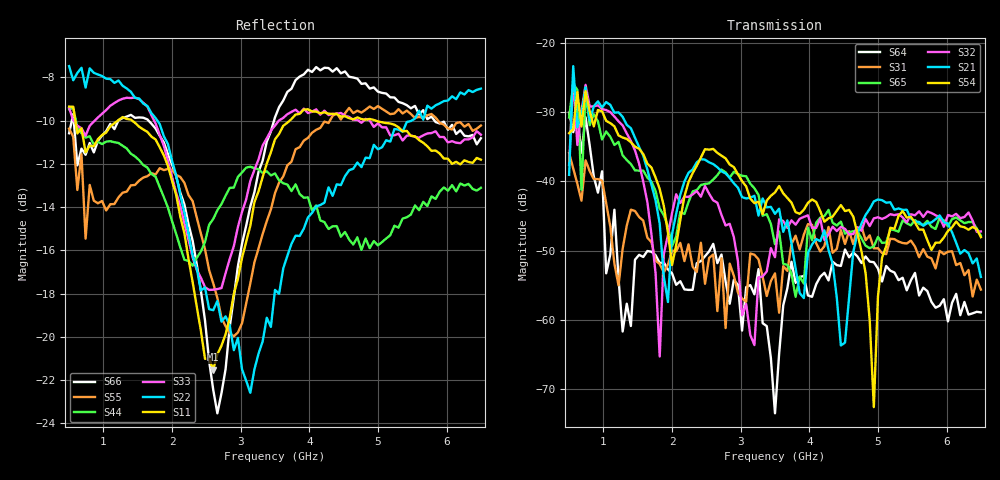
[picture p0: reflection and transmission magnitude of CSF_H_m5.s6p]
!Keysight Technologies,M9804A,MY58100912,A.14.10.03
!Date: Thursday, April 27, 2023 10:28:33
!Correction: S11(C  6-Port  )
!S12(C  6-Port  )
!S13(C  6-Port  )
!S14(C  6-Port  )
!S15(C  6-Port  )
!S16(C  6-Port  )
!S21(C  6-Port  )
!S22(C  6-Port  )
!S23(C  6-Port  )
!S24(C  6-Port  )
!S25(C  6-Port  )
!S26(C  6-Port  )
!S31(C  6-Port  )
!S32(C  6-Port  )
!S33(C  6-Port  )
!S34(C  6-Port  )
!S35(C  6-Port  )
!S36(C  6-Port  )
!S41(C  6-Port  )
!S42(C  6-Port  )
!S43(C  6-Port  )
!S44(C  6-Port  )
!S45(C  6-Port  )
!S46(C  6-Port  )
!S51(C  6-Port  )
!S52(C  6-Port  )
!S53(C  6-Port  )
!S54(C  6-Port  )
!S55(C  6-Port  )
!S56(C  6-Port  )
!S61(C  6-Port  )
!S62(C  6-Port  )
!S63(C  6-Port  )
!S64(C  6-Port  )
!S65(C  6-Port  )
!S66(C  6-Port  )
!S6P File: Measurement: :
# Hz S  RI  R 50
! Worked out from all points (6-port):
!   101 points, 500 MHz to 6.5 GHz, reference 50 ohm
!   strongest paths, dB at 500 MHz, 2 GHz, 3.5 GHz, 5 GHz, 6.5 GHz:
!     S54: -33.0, -52.1, -41.6, -56.6, -48.0
!     S21: -39.0, -47.6, -44.7, -42.6, -53.8
!     S32: -37.6, -44.6, -50.9, -45.2, -47.2
!     S65: -30.8, -49.3, -49.1, -48.0, -47.8
!     S31: -35.9, -50.0, -53.3, -49.6, -55.6
!     S64: -30.1, -53.3, -73.5, -52.6, -58.9
!   lowest |S11| = -21.5 dB at 2.6 GHz (marker M1), VSWR 1.18, Z = 42.5 + j2.07 ohm
!   |S11| at or under -10 dB: 591.2 MHz to 1.209 GHz (617.7 MHz wide, 68.6 % of centre); 1.42 GHz to 3.713 GHz (2.294 GHz wide, 89.4 % of centre); 4.969 GHz to end of sweep
